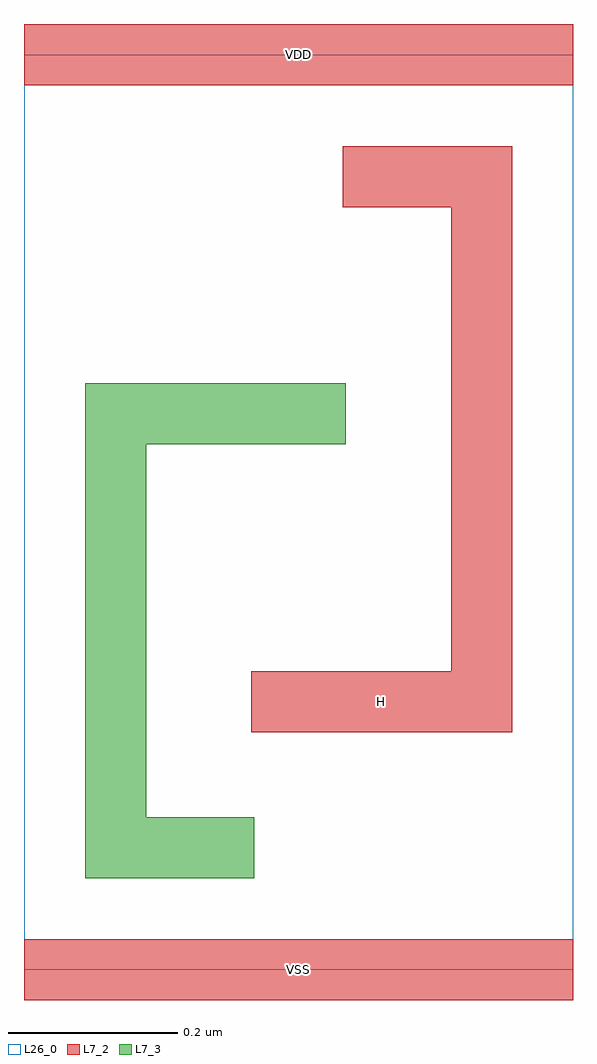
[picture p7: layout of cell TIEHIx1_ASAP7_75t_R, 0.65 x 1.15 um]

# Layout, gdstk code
import gdstk
lib = gdstk.Library(unit=1e-6, precision=1e-09)
def R(c, l, rs):  # rectangles x0, y0, x1, y1
    for r in rs: c.add(gdstk.rectangle(r[:2], r[2:], *l))
L7_2 = (7, 2)
L7_3 = (7, 3)
L26_0 = (26, 0)

tiehix1_asap7_75t_r = lib.new_cell('TIEHIx1_ASAP7_75t_R')
R(tiehix1_asap7_75t_r, L7_2, [(0,-0.036,0.648,0.036), (0.268,0.28,0.576,0.352), (0.504,0.28,0.576,0.972), (0.376,0.9,0.576,0.972), (0,1.044,0.648,1.116)])
R(tiehix1_asap7_75t_r, L7_3, [(0.072,0.108,0.144,0.692), (0.072,0.108,0.272,0.18), (0.072,0.62,0.38,0.692)])
R(tiehix1_asap7_75t_r, L26_0, [(0,0,0.648,1.08)])
tiehix1_asap7_75t_r.add(gdstk.Label('H', (0.422,0.316), layer=7, texttype=1))
tiehix1_asap7_75t_r.add(gdstk.Label('VDD', (0.324,1.08), layer=7, texttype=1))
tiehix1_asap7_75t_r.add(gdstk.Label('VSS', (0.324,0), layer=7, texttype=1))

lib.write_gds('TIEHIx1_ASAP7_75t_R.gds')
